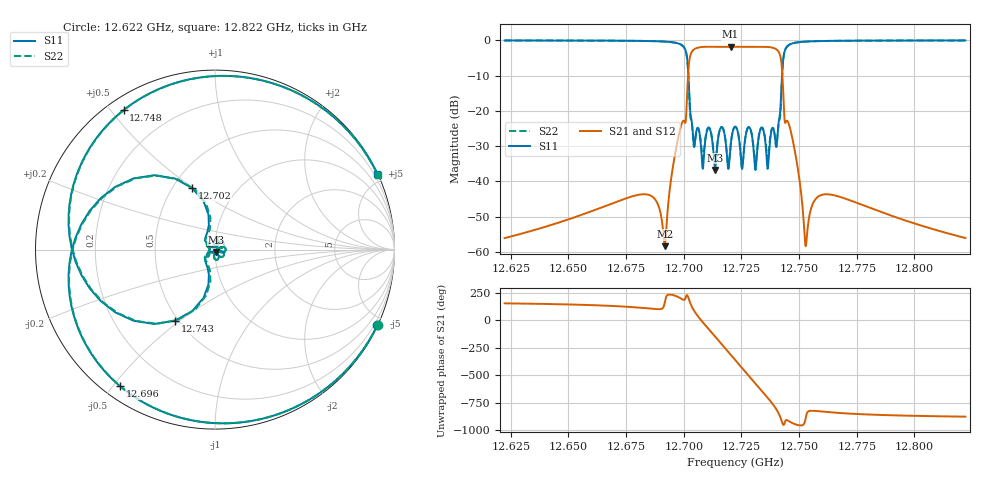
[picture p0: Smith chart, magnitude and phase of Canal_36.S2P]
# MHZ S MA R 50
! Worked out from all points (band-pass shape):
!   1000 points, 12.622 GHz to 12.822 GHz, reference 50 ohm
!   highest |S21| = -1.81 dB at 12.72 GHz (marker M1); lowest = -58.4 dB at 12.692 GHz (marker M2)
!   |S21| within 3 dB of the highest: 12.70264 GHz to 12.74196 GHz (39.32 MHz wide, 0.309 % of centre)
!   lowest |S11| = -36.8 dB at 12.713 GHz (marker M3), VSWR 1.03, Z = 50.7 - j1.27 ohm
!   |S11| at or under -10 dB: 12.702 GHz to 12.7426 GHz (40.59 MHz wide, 0.319 % of centre)
!   |S22| runs from -36.3 to 0.0 dB; largest |S21 - S12| = 1e-08
!   S11 on the Smith chart (normalised r, x): 12.622 GHz: 0.02, -4.52; 12.696 GHz: 0.05, -0.52; 12.702 GHz: 0.62, +0.49; 12.743 GHz: 0.48, -0.48; 12.748 GHz: 0.05, +0.54; 12.822 GHz: 0.02, +4.52
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12622.3  0.9978 -24.9  0.001563 154.6  0.001563 154.6  0.9978 -24.7
12655.7  0.9948 -38.1  0.00335 141.3  0.00335 141.3  0.9948 -37.8
12688.9  0.9711 -84.9  0.004607 100.8  0.004607 100.8  0.9712 -84.4
12691.7  0.9617 264.0  0.001203 158.3  0.001203 158.3  0.9618 264.6
12696.3  0.9267 235.1  0.0253 223.3  0.0253 223.3  0.9265 235.7
12701.9  0.3656 110.3  0.3408 210.5  0.3408 210.5  0.3502 108.2
12704.7  0.03314 202.9  0.7555 80.0  0.7555 80.0  0.03293 208.6
12707.9  0.01911 220.8  0.8058 -8.9  0.8058 -8.9  0.02403 231.8
12713.5  0.01447 -59.8  0.8115 214.6  0.8115 214.6  0.01679 -59.9
12720.3  0.03226 24.8  0.8122 48.3  0.8122 48.3  0.03243 24.1
12722.3  0.05956 0.0  0.8119 0.0  0.8119 0.0  0.0597 0.0
12725.9  0.02385 55.9  0.8114 -87.3  0.8114 -87.3  0.02406 56.1
12729.3  0.04912 18.4  0.8097 189.5  0.8097 189.5  0.04973 20.8
12733.1  0.05298 90.0  0.8119 96.8  0.8119 96.8  0.05379 89.9
12736.7  0.01911 139.2  0.8058 8.9  0.8058 8.9  0.02403 128.2
12739.9  0.03314 157.1  0.7555 -80.0  0.7555 -80.0  0.03293 151.4
12742.9  0.4553 240.5  0.262 139.1  0.262 139.1  0.4418 242.2
12748.5  0.9293 123.2  0.02326 135.3  0.02326 135.3  0.9291 122.6
12752.7  0.9608 96.9  0.001245 179.6  0.001245 179.6  0.9609 96.3
12755.5  0.9706 85.6  0.004424 259.2  0.004424 259.2  0.9707 85.1
12788.9  0.9948 38.1  0.00335 218.7  0.00335 218.7  0.9948 37.8
12822.1  0.9978 25.0  0.001569 205.4  0.001569 205.4  0.9978 24.8
